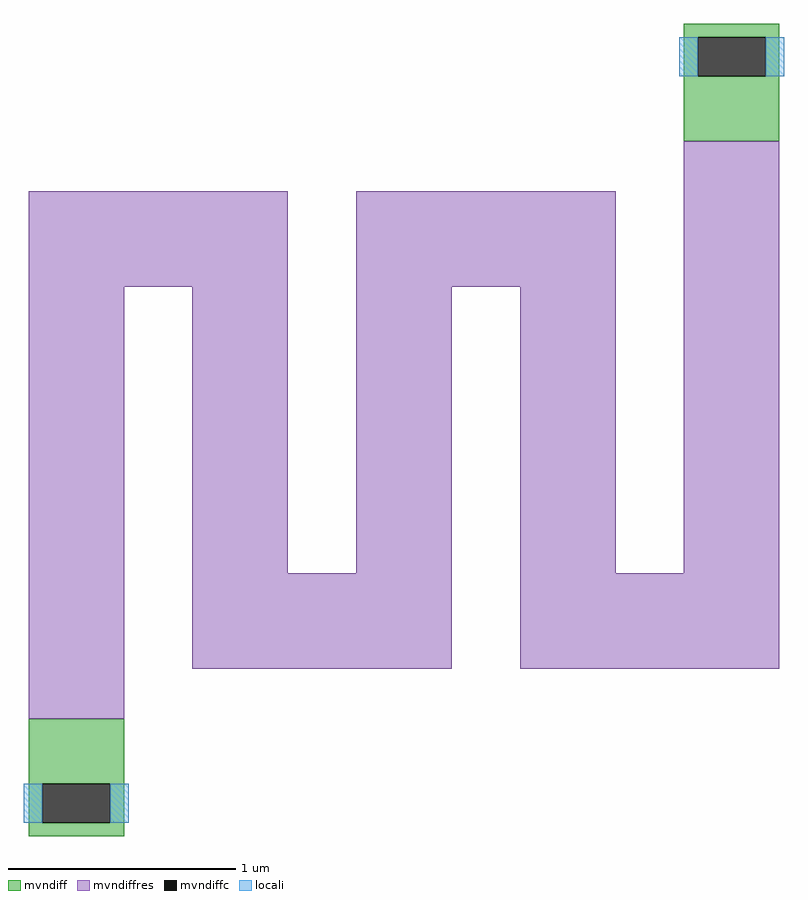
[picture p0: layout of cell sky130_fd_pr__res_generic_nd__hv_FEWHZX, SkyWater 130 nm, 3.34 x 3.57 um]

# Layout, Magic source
magic
tech sky130A
magscale 1 2
<< mvndiff >>
rect 246 345 330 357
rect 246 311 258 345
rect 318 311 330 345
rect 246 254 330 311
rect -330 -311 -246 -254
rect -330 -345 -318 -311
rect -258 -345 -246 -311
rect -330 -357 -246 -345
<< mvndiffc >>
rect 258 311 318 345
rect -318 -345 -258 -311
<< mvndiffres >>
rect -330 126 -102 210
rect -330 -254 -246 126
rect -186 -126 -102 126
rect -42 126 186 210
rect -42 -126 42 126
rect -186 -210 42 -126
rect 102 -126 186 126
rect 246 -126 330 254
rect 102 -210 330 -126
<< locali >>
rect 242 311 258 345
rect 318 311 334 345
rect -334 -345 -318 -311
rect -258 -345 -242 -311
<< properties >>
string gencell sky130_fd_pr__res_generic_nd__hv
string library sky130
string parameters w 0.42 l 2.1 m 1 nx 5 wmin 0.42 lmin 2.10 rho 120 val 4.11k dummy 0 dw 0.02 term 0.0 sterm 0.0 caplen 0.4 snake 1 guard 0 glc 1 grc 1 gtc 1 gbc 1 roverlap 0 endcov 100 full_metal 1 vias 1 viagb 0 viagt 0 viagl 0 viagr 0
<< end >>
